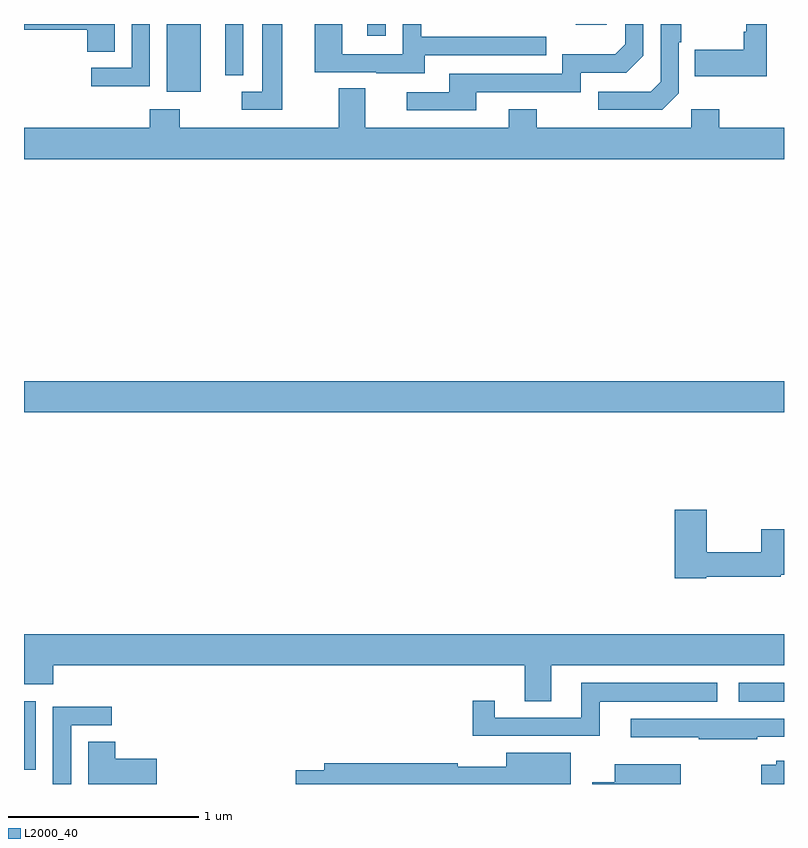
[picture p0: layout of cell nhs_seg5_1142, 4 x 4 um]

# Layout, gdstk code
import gdstk
lib = gdstk.Library(unit=1e-6, precision=1e-09)
def R(c, l, rs):  # rectangles x0, y0, x1, y1
    for r in rs: c.add(gdstk.rectangle(r[:2], r[2:], *l))
def P(c, l, *ps):  # polygons
    for p in ps: c.add(gdstk.Polygon(p, *l))
L2000_40 = (2000, 40)

nhs_seg5_1142 = lib.new_cell('nhs_seg5_1142')
R(nhs_seg5_1142, L2000_40, [(181,858.873,181.063,859.234), (184.761,859.232,185,859.333), (181,860.756,185,860.92), (181.751,862.442,181.93,862.799), (182.807,862.737,182.904,862.799), (183.905,862.796,184.066,862.799)])
P(nhs_seg5_1142, L2000_40, [(184.909,862.799),(184.8,862.799),(184.8,862.759),(184.788,862.759),(184.788,862.663),(184.531,862.663),(184.531,862.523),(184.909,862.523)],
  [(183.109,862.635),(183.749,862.635),(183.749,862.731),(183.09,862.731),(183.09,862.799),(182.994,862.799),(182.994,862.641),(182.676,862.641),(182.676,862.799),(182.531,862.799),(182.531,862.545),(182.855,862.545),(182.855,862.541),(183.109,862.541)],
  [(182.154,862.799),(182.06,862.799),(182.06,862.682),(182.058,862.682),(182.058,862.528),(182.154,862.528)],
  [(181.662,862.799),(181.566,862.799),(181.566,862.569),(181.353,862.569),(181.353,862.471),(181.662,862.471)],
  [(182.359,862.799),(182.255,862.799),(182.255,862.443),(182.145,862.443),(182.145,862.347),(182.359,862.347)],
  [(184.446,862.434),(184.446,862.703),(184.459,862.703),(184.459,862.799),(184.35,862.799),(184.35,862.494),(184.299,862.443),(184.023,862.443),(184.023,862.347),(184.359,862.347)],
  [(183.379,862.44),(183.93,862.44),(183.93,862.542),(184.17,862.542),(184.26,862.632),(184.26,862.799),(184.164,862.799),(184.164,862.692),(184.111,862.639),(183.834,862.639),(183.834,862.536),(183.239,862.536),(183.239,862.44),(183.015,862.44),(183.015,862.344),(183.379,862.344)],
  [(181.477,862.799),(181,862.799),(181,862.768),(181.334,862.768),(181.334,862.654),(181.477,862.654)],
  [(185,862.252),(184.659,862.252),(184.659,862.351),(184.512,862.351),(184.512,862.252),(183.699,862.252),(183.699,862.351),(183.551,862.351),(183.551,862.252),(182.797,862.252),(182.797,862.46),(182.657,862.46),(182.657,862.252),(181.821,862.252),(181.821,862.351),(181.661,862.351),(181.661,862.252),(181,862.252),(181,862.088),(185,862.088)],
  [(184.59,859.89),(184.984,859.89),(184.984,859.901),(185,859.901),(185,860.14),(184.88,860.14),(184.88,860.018),(184.594,860.018),(184.594,860.242),(184.424,860.242),(184.424,859.882),(184.59,859.882)],
  [(183.775,859.424),(185,859.424),(185,859.588),(181,859.588),(181,859.325),(181.154,859.325),(181.154,859.424),(183.635,859.424),(183.635,859.234),(183.775,859.234)],
  [(184.03,859.232),(184.648,859.232),(184.648,859.333),(183.932,859.333),(183.932,859.149),(183.478,859.149),(183.478,859.237),(183.361,859.237),(183.361,859.053),(184.03,859.053)],
  [(181.248,859.107),(181.462,859.107),(181.462,859.206),(181.152,859.206),(181.152,858.799),(181.248,858.799)],
  [(184.859,859.047),(185,859.047),(185,859.143),(184.194,859.143),(184.194,859.046),(184.552,859.046),(184.552,859.035),(184.859,859.035)],
  [(181.699,858.932),(181.481,858.932),(181.481,859.022),(181.337,859.022),(181.337,858.799),(181.699,858.799)],
  [(183.877,858.964),(183.539,858.964),(183.539,858.889),(183.284,858.889),(183.284,858.908),(182.579,858.908),(182.579,858.872),(182.43,858.872),(182.43,858.799),(183.877,858.799)],
  [(185,858.922),(184.959,858.922),(184.959,858.901),(184.88,858.901),(184.88,858.799),(185,858.799)],
  [(184.456,858.904),(184.109,858.904),(184.109,858.808),(183.992,858.808),(183.992,858.799),(184.456,858.799)])

lib.write_gds('nhs_seg5_1142.gds')
